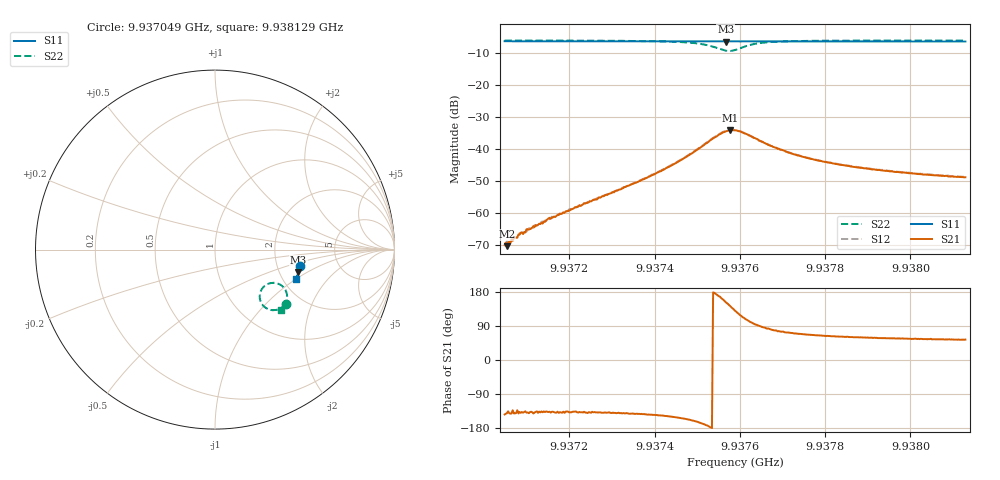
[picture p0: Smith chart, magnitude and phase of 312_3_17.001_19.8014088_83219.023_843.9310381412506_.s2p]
#  HZ  S  RI  R  50.00
! Rohde & Schwarz Vector Network Analyzer
! Rohde-Schwarz,ZNB20-2Port,1311601062101988,3.16
! Created: UTC 3/20/2024, 11:06:04 PM
! freq[Hz]  re:S11  im:S11  re:S21  im:S21  re:S12  im:S12  re:S22  im:S22
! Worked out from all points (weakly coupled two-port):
!   401 points, 9.937049 GHz to 9.938129 GHz, reference 50 ohm
!   highest |S21| = -34.08 dB at 9.937578 GHz (marker M1); lowest = -70.4 dB at 9.937054 GHz (marker M2)
!   lowest |S11| = -6.4 dB at 9.937567 GHz (marker M3), VSWR 2.85, Z = 127 - j41.2 ohm
!   |S11| at or under -10 dB: nowhere
!   |S22| runs from -9.3 to -6.0 dB; largest |S21 - S12| = 0.00079
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9.9370487e9  0.4758 -0.0911  -0.000252 -0.000185  -0.000256 -0.000186  0.396 -0.3026
9.9370541e9  0.4757 -0.0916  -0.000232 -0.000192  -0.000294 -0.000212  0.3957 -0.3029
9.9370838e9  0.4751 -0.0935  -0.000336 -0.000312  -0.000374 -0.000302  0.3939 -0.3051
9.9371054e9  0.4748 -0.095  -0.000422 -0.00035  -0.00042 -0.00039  0.392 -0.3065
9.9371378e9  0.4742 -0.0971  -0.000505 -0.000458  -0.000548 -0.000484  0.3896 -0.3089
9.9371513e9  0.474 -0.0981  -0.0006 -0.000553  -0.000584 -0.000524  0.3885 -0.31
9.9372296e9  0.4725 -0.1033  -0.000975 -0.000886  -0.000989 -0.000916  0.3812 -0.3163
9.9373484e9  0.4701 -0.1113  -0.00222 -0.00178  -0.00225 -0.00174  0.3647 -0.3274
9.9374105e9  0.4686 -0.1157  -0.00363 -0.00244  -0.00375 -0.0024  0.3495 -0.334
9.9374618e9  0.4674 -0.1191  -0.00599 -0.00299  -0.00611 -0.00297  0.3275 -0.3375
9.9375131e9  0.4657 -0.1226  -0.0109 -0.0023  -0.0112 -0.0021  0.2864 -0.3268
9.9375482e9  0.4641 -0.1244  -0.016 0.00265  -0.0162 0.00309  0.2515 -0.2801
9.9375671e9  0.4634 -0.125  -0.0167 0.0087  -0.0168 0.00918  0.2545 -0.2329
9.9375779e9  0.4634 -0.1252  -0.0155 0.0123  -0.0153 0.0128  0.2714 -0.2074
9.9375887e9  0.4634 -0.1255  -0.0126 0.015  -0.0123 0.0155  0.297 -0.1904
9.9376184e9  0.4638 -0.1271  -0.00421 0.0163  -0.0038 0.0165  0.3643 -0.1958
9.9376454e9  0.4635 -0.1291  -3.42e-05 0.0134  0.000467 0.0137  0.3921 -0.2242
9.9377021e9  0.4628 -0.1332  0.0025 0.00914  0.00271 0.00899  0.4018 -0.2668
9.9377696e9  0.4612 -0.138  0.00281 0.00636  0.00297 0.00634  0.3967 -0.2913
9.9378641e9  0.4592 -0.1442  0.0026 0.0046  0.00274 0.00456  0.3879 -0.3092
9.9379505e9  0.4569 -0.1501  0.00242 0.00377  0.00253 0.0038  0.3807 -0.3194
9.9381287e9  0.4522 -0.1614  0.00212 0.00292  0.00222 0.0029  0.3684 -0.3341
